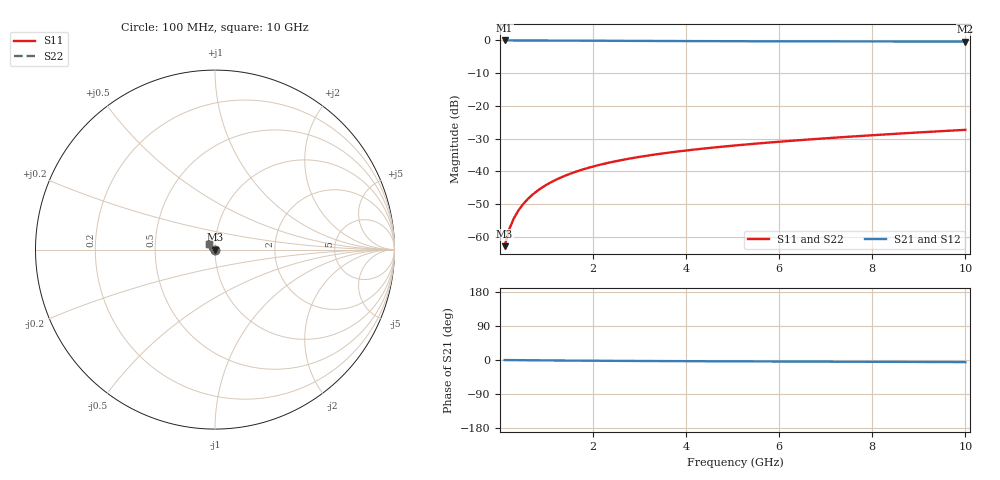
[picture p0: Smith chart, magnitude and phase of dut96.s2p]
! Touchstone file exported from HFSS 2024.1.0
!  File:  C:/UserFiles/LocalFiles/RDL_TSV_Batchsim/temp_TSV1_96_1779376626.aedt
!  Generated:  11:23:41 PM May 21, 2026
!  Design:  TSV1
!  Project:  temp_TSV1_96_1779376626
!  Setup:  Setup1
!  Solution:  Sweep
! Variables:
!  dtsv = 6.47um
!  hbump = 3um
!  htsv = 79.87um
!  lrdl = 252.1521522um
!  p = 40
!  p1 = 58.29um
!  t = 500um
!  trdl = 3um
!  wrdl = 24.89489489um
# GHz S MA R 50.000000
! Terminal data exported
! Port[1] = TSV22_T1
! Port[2] = TSV22_T2
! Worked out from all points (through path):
!   100 points, 100 MHz to 10 GHz, reference 50 ohm
!   highest |S21| = 0.00 dB at 100 MHz (marker M1); lowest = -0.3 dB at 10 GHz (marker M2)
!   lowest |S11| = -62.9 dB at 100 MHz (marker M3), VSWR 1.00, Z = 50 - j0.0644 ohm
!   |S11| at or under -10 dB: start of sweep to end of sweep
!   |S22| runs from -62.9 to -27.3 dB; largest |S21 - S12| = 2.1e-15
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0.1  0.0007145 -64.2  0.9996 -0.1  0.9996 -0.1  0.0007145 -64.2
! Gamma 0 0 0 0
! Port Impedance 50 0 50 0
0.2  0.001302 -80.1  0.9995 -0.2  0.9995 -0.2  0.001302 -80.1
0.3  0.001914 -87.5  0.9994 -0.3  0.9994 -0.3  0.001914 -87.5
0.4  0.002533 -92.6  0.9992 -0.4  0.9992 -0.4  0.002533 -92.6
0.5  0.003152 -96.7  0.9989 -0.5  0.9989 -0.5  0.003152 -96.7
0.6  0.003771 -100.2  0.9986 -0.7  0.9986 -0.7  0.003771 -100.2
0.7  0.004386 -103.4  0.9982 -0.8  0.9982 -0.8  0.004386 -103.4
0.8  0.004998 -106.5  0.9978 -0.9  0.9978 -0.9  0.004998 -106.5
0.9  0.005605 -109.3  0.9974 -1.0  0.9974 -1.0  0.005605 -109.3
1.1  0.006801 -114.7  0.9963 -1.2  0.9963 -1.2  0.006801 -114.7
1.4  0.008541 -122.2  0.9946 -1.4  0.9946 -1.4  0.008541 -122.2
1.6  0.009662 -127.0  0.9933 -1.6  0.9933 -1.6  0.009662 -127.0
1.8  0.01075 -131.5  0.992 -1.8  0.992 -1.8  0.01075 -131.5
2.1  0.01231 -138.0  0.9899 -2.0  0.9899 -2.0  0.01231 -138.0
2.5  0.01428 -146.1  0.9872 -2.3  0.9872 -2.3  0.01428 -146.1
2.9  0.01613 -153.5  0.9845 -2.5  0.9845 -2.5  0.01613 -153.5
3.4  0.0183 -162.0  0.9814 -2.8  0.9814 -2.8  0.0183 -162.0
4.2  0.02153 -173.9  0.977 -3.2  0.977 -3.2  0.02153 -173.9
5.1  0.02495 174.9  0.9731 -3.6  0.9731 -3.6  0.02495 174.9
6.7  0.03079 159.4  0.9681 -4.2  0.9681 -4.2  0.03079 159.4
8.4  0.03699 147.1  0.9646 -4.9  0.9646 -4.9  0.03699 147.1
10  0.04294 138.3  0.9622 -5.6  0.9622 -5.6  0.04294 138.3
